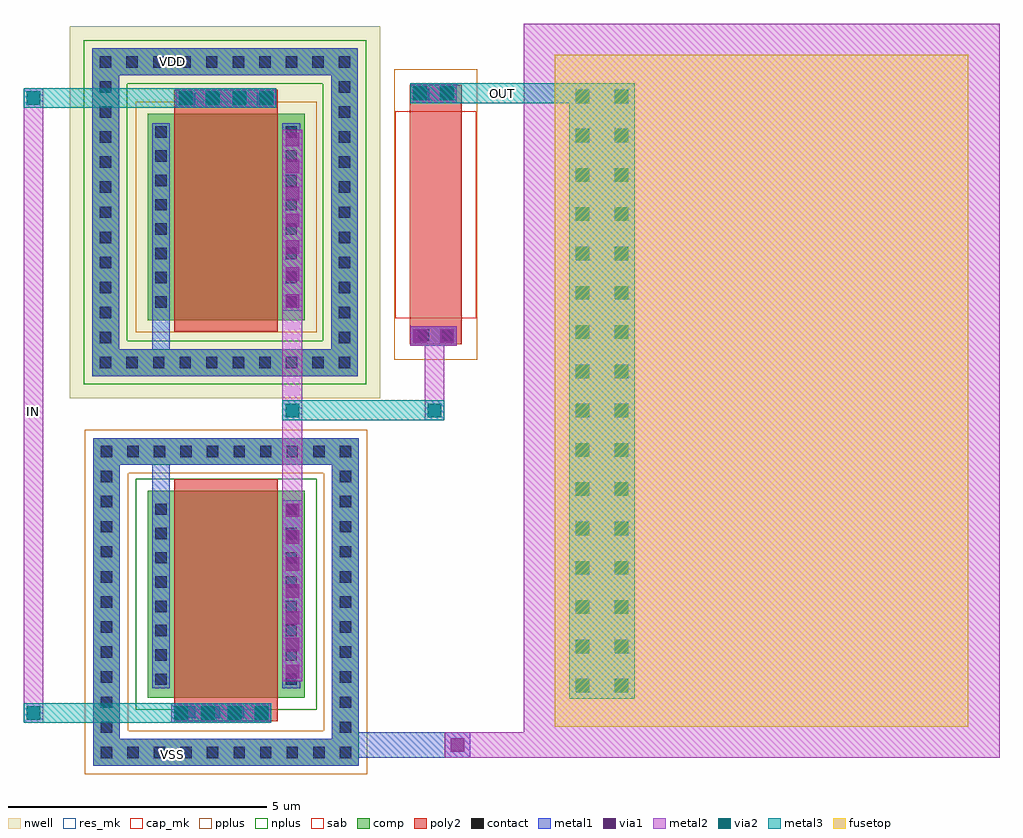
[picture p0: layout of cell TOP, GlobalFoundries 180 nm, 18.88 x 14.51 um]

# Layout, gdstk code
from math import pi, radians
import gdstk
lib = gdstk.Library(unit=1e-6, precision=1e-09)
def R(c, l, rs):  # rectangles x0, y0, x1, y1
    for r in rs: c.add(gdstk.rectangle(r[:2], r[2:], *l))
def A(c, l, x, y, w, h, nx, ny, dx, dy):  # array of equal rectangles
    R(c, l, [(x+i*dx, y+j*dy, x+i*dx+w, y+j*dy+h) for i in range(nx) for j in range(ny)])
def P(c, l, *ps):  # polygons
    for p in ps: c.add(gdstk.Polygon(p, *l))
nwell = (21, 0)
comp = (22, 0)
poly2 = (30, 0)
pplus = (31, 0)
nplus = (32, 0)
contact = (33, 0)
metal1 = (34, 0)
via1 = (35, 0)
metal2 = (36, 0)
via2 = (38, 0)
metal3 = (42, 0)
sab = (49, 0)
fusetop = (75, 0)
res_mk = (110, 5)
cap_mk = (117, 5)

pmos = lib.new_cell('PMOS')
R(pmos, nwell, [(-0.43,-0.43,3.47,4.43)])
R(pmos, comp, [(0,0,3.04,4)])
R(pmos, poly2, [(0.52,-0.22,2.52,4.22), (0.52,4.1,2.52,4.46)])
R(pmos, pplus, [(-0.23,-0.23,3.27,4.23)])
A(pmos, contact, 0.15, 0.245, 0.22, 0.22, 1, 8, 0, 0.47)
A(pmos, contact, 2.67, 0.245, 0.22, 0.22, 1, 8, 0, 0.47)
A(pmos, contact, 0.705, 4.17, 0.22, 0.22, 4, 1, 0.47, 0)
R(pmos, metal1, [(0.09,0.185,0.43,3.815), (2.61,0.185,2.95,3.815), (0.645,4.11,2.395,4.45)])
pmos.add(gdstk.Label('G', (1.52,4.11), layer=30, texttype=10))
pmos.add(gdstk.Label('S', (0.26,2), layer=34, texttype=10))
pmos.add(gdstk.Label('D', (2.78,2), layer=34, texttype=10))

nmos = lib.new_cell('NMOS')
R(nmos, comp, [(0,0,3.04,4)])
R(nmos, poly2, [(0.52,-0.46,2.52,-0.1), (0.52,-0.22,2.52,4.22)])
R(nmos, nplus, [(-0.23,-0.23,3.27,4.23)])
A(nmos, contact, 0.705, -0.39, 0.22, 0.22, 4, 1, 0.47, 0)
A(nmos, contact, 0.15, 0.245, 0.22, 0.22, 1, 8, 0, 0.47)
A(nmos, contact, 2.67, 0.245, 0.22, 0.22, 1, 8, 0, 0.47)
R(nmos, metal1, [(0.645,-0.45,2.395,-0.11), (0.09,0.185,0.43,3.815), (2.61,0.185,2.95,3.815)])
nmos.add(gdstk.Label('G', (1.52,-0.11), layer=30, texttype=10))
nmos.add(gdstk.Label('S', (0.26,2), layer=34, texttype=10))
nmos.add(gdstk.Label('D', (2.78,2), layer=34, texttype=10))

guardring = lib.new_cell('GuardRing')
P(guardring, comp, [(-2.57,-3.17),(-2.57,2.65),(-2.05,2.65),(-2.05,-2.65),(2.05,-2.65),(2.05,2.65),(-2.57,2.65),(-2.57,3.17),(2.57,3.17),(2.57,-3.17)])
P(guardring, pplus, [(-2.73,-3.33),(-2.73,2.49),(-1.89,2.49),(-1.89,-2.49),(1.89,-2.49),(1.89,2.49),(-2.73,2.49),(-2.73,3.33),(2.73,3.33),(2.73,-3.33)])
A(guardring, contact, -2.42, -3.02, 0.22, 0.22, 1, 13, 0, 0.485)
A(guardring, contact, -1.393, -3.02, 0.22, 0.22, 3, 2, 0.513, 5.82)
A(guardring, contact, 0.147, -3.02, 0.22, 0.22, 3, 2, 0.513, 5.82)
A(guardring, contact, 2.2, -3.02, 0.22, 0.22, 1, 13, 0, 0.485)
R(guardring, contact, [(-1.907,-3.02,-1.687,-2.8), (1.687,-3.02,1.907,-2.8), (-1.907,2.8,-1.687,3.02), (1.687,2.8,1.907,3.02)])
P(guardring, metal1, [(-2.57,-3.17),(-2.57,2.65),(-2.05,2.65),(-2.05,-2.65),(2.05,-2.65),(2.05,2.65),(-2.57,2.65),(-2.57,3.17),(2.57,3.17),(2.57,-3.17)])

guardring_1 = lib.new_cell('GuardRing$1')
R(guardring_1, nwell, [(-3,-3.6,3,3.6)])
P(guardring_1, comp, [(-2.57,-3.17),(-2.57,2.65),(-2.05,2.65),(-2.05,-2.65),(2.05,-2.65),(2.05,2.65),(-2.57,2.65),(-2.57,3.17),(2.57,3.17),(2.57,-3.17)])
P(guardring_1, nplus, [(-2.73,-3.33),(-2.73,2.49),(-1.89,2.49),(-1.89,-2.49),(1.89,-2.49),(1.89,2.49),(-2.73,2.49),(-2.73,3.33),(2.73,3.33),(2.73,-3.33)])
A(guardring_1, contact, -2.42, -3.02, 0.22, 0.22, 1, 13, 0, 0.485)
A(guardring_1, contact, -1.393, -3.02, 0.22, 0.22, 3, 2, 0.513, 5.82)
A(guardring_1, contact, 0.147, -3.02, 0.22, 0.22, 3, 2, 0.513, 5.82)
A(guardring_1, contact, 2.2, -3.02, 0.22, 0.22, 1, 13, 0, 0.485)
R(guardring_1, contact, [(-1.907,-3.02,-1.687,-2.8), (1.687,-3.02,1.907,-2.8), (-1.907,2.8,-1.687,3.02), (1.687,2.8,1.907,3.02)])
P(guardring_1, metal1, [(-2.57,-3.17),(-2.57,2.65),(-2.05,2.65),(-2.05,-2.65),(2.05,-2.65),(2.05,2.65),(-2.57,2.65),(-2.57,3.17),(2.57,3.17),(2.57,-3.17)])

c_______p_po_sab = lib.new_cell('$$$$$$P_PO_SAB')
R(c_______p_po_sab, poly2, [(0,0,5.02,1)])
R(c_______p_po_sab, pplus, [(-0.3,-0.3,5.32,1.3)])
R(c_______p_po_sab, contact, [(0.07,0.155,0.29,0.375), (4.73,0.155,4.95,0.375), (0.07,0.625,0.29,0.845), (4.73,0.625,4.95,0.845)])
R(c_______p_po_sab, metal1, [(0.01,0.095,0.35,0.905), (4.67,0.095,5.01,0.905)])
R(c_______p_po_sab, sab, [(0.51,-0.28,4.51,1.28)])
R(c_______p_po_sab, res_mk, [(0.51,0,4.51,1)])

c_______mim = lib.new_cell('$$$$$$MIM')
R(c_______mim, metal2, [(-0.6,-0.6,8.6,13.6)])
A(c_______mim, via2, 0.4, 0.67, 0.26, 0.26, 1, 16, 0, 0.76)
A(c_______mim, via2, 1.16, 0.67, 0.26, 0.26, 1, 16, 0, 0.76)
R(c_______mim, metal3, [(0.28,0.55,1.54,12.45)])
R(c_______mim, fusetop, [(0,0,8,13)])
R(c_______mim, cap_mk, [(0,0,8,13)])

c_____________ = lib.new_cell('$$$$$$$$$$$$')
R(c_____________, metal1, [(-0.97,-0.19,0.97,0.19)])
A(c_____________, via1, -0.91, -0.13, 0.26, 0.26, 4, 1, 0.52, 0)
R(c_____________, metal2, [(-0.97,-0.19,0.97,0.19)])

c______________1 = lib.new_cell('$$$$$$$$$$$$$1')
R(c______________1, metal2, [(-0.97,-0.19,0.97,0.19)])
A(c______________1, via2, -0.91, -0.13, 0.26, 0.26, 4, 1, 0.52, 0)
R(c______________1, metal3, [(-0.97,-0.19,0.97,0.19)])

c______________2 = lib.new_cell('$$$$$$$$$$$$$2')
R(c______________2, metal2, [(-0.19,-0.19,0.19,0.19)])
R(c______________2, via2, [(-0.13,-0.13,0.13,0.13)])
R(c______________2, metal3, [(-0.19,-0.19,0.19,0.19)])

c______________4 = lib.new_cell('$$$$$$$$$$$$$4')
R(c______________4, metal1, [(-0.19,-1.75,0.19,1.75)])
A(c______________4, via1, -0.13, -1.69, 0.26, 0.26, 1, 7, 0, 0.52)
R(c______________4, metal2, [(-0.19,-1.75,0.19,1.75)])

c______________6 = lib.new_cell('$$$$$$$$$$$$$6')
R(c______________6, metal1, [(-0.45,-0.19,0.45,0.19)])
R(c______________6, via1, [(-0.39,-0.13,-0.13,0.13), (0.13,-0.13,0.39,0.13)])
R(c______________6, metal2, [(-0.45,-0.19,0.45,0.19)])

c______________7 = lib.new_cell('$$$$$$$$$$$$$7')
R(c______________7, metal2, [(-0.45,-0.19,0.45,0.19)])
R(c______________7, via2, [(-0.39,-0.13,-0.13,0.13), (0.13,-0.13,0.39,0.13)])
R(c______________7, metal3, [(-0.45,-0.19,0.45,0.19)])

c______________8 = lib.new_cell('$$$$$$$$$$$$$8')
R(c______________8, metal1, [(-0.25,-0.25,0.25,0.25)])
R(c______________8, via1, [(-0.13,-0.13,0.13,0.13)])
R(c______________8, metal2, [(-0.25,-0.25,0.25,0.25)])

top = lib.new_cell('TOP')
top.add(gdstk.FlexPath([(-2.432,-6.174),(-2.432,6.105)], 0.38, ends="flush", simple_path=True, layer=36, datatype=0))  # metal2
top.add(gdstk.FlexPath([(2.578,-2.213),(2.578,2.331)], 0.38, ends="flush", simple_path=True, layer=36, datatype=0))  # metal2
top.add(gdstk.FlexPath([(5.33,-0.316),(5.33,1.46)], 0.38, ends="flush", simple_path=True, layer=36, datatype=0))  # metal2
top.add(gdstk.FlexPath([(9.775,-6.602),(5.522,-6.602)], 0.5, ends="flush", simple_path=True, layer=36, datatype=0))  # metal2
top.add(gdstk.FlexPath([(-2.622,5.915),(0.731,5.915)], 0.38, ends="flush", simple_path=True, layer=42, datatype=0))  # metal3
top.add(gdstk.FlexPath([(0.233,-5.984),(-2.622,-5.984)], 0.38, ends="flush", simple_path=True, layer=42, datatype=0))  # metal3
top.add(gdstk.FlexPath([(2.388,-0.126),(5.52,-0.126)], 0.38, ends="flush", simple_path=True, layer=42, datatype=0))  # metal3
top.add(gdstk.FlexPath([(5.411,6.008),(8.342,6.008)], 0.38, ends="flush", simple_path=True, layer=42, datatype=0))  # metal3
top.add(gdstk.FlexPath([(0.038,2.023),(0.038,0.861)], 0.34, ends="flush", simple_path=True, layer=34, datatype=0))  # metal1
top.add(gdstk.FlexPath([(0.038,-0.952),(0.038,-2.114)], 0.34, ends="flush", simple_path=True, layer=34, datatype=0))  # metal1
top.add(gdstk.FlexPath([(6.022,-6.602),(3.437,-6.602)], 0.5, ends="flush", simple_path=True, layer=34, datatype=0))  # metal1
top.add(gdstk.Reference(pmos, (-0.222,1.615)))
top.add(gdstk.Reference(nmos, (-0.222,-5.684)))
top.add(gdstk.Reference(guardring, (1.294,-3.833)))
top.add(gdstk.Reference(guardring_1, (1.277,3.705)))
top.add(gdstk.Reference(c_______p_po_sab, (4.854,6.168), rotation=3*pi/2))
top.add(gdstk.Reference(c_______mim, (7.658,-6.252)))
top.add(gdstk.Reference(c_____________, (1.297,5.915)))
top.add(gdstk.Reference(c______________1, (1.297,5.915)))
top.add(gdstk.Reference(c_____________, (1.203,-5.984)))
top.add(gdstk.Reference(c______________1, (1.203,-5.984)))
top.add(gdstk.Reference(c______________2, (-2.432,-5.984)))
top.add(gdstk.Reference(c______________2, (-2.432,5.915)))
top.add(gdstk.Reference(c______________4, (2.578,3.55)))
top.add(gdstk.Reference(c______________4, (2.578,-3.619)))
top.add(gdstk.Reference(c______________6, (5.312,1.309)))
top.add(gdstk.Reference(c______________2, (2.578,-0.126)))
top.add(gdstk.Reference(c______________2, (5.33,-0.126)))
top.add(gdstk.Reference(c______________6, (5.312,6.008)))
top.add(gdstk.Reference(c______________7, (5.312,6.008)))
top.add(gdstk.Reference(c______________8, (5.772,-6.602)))
top.add(gdstk.Label('IN', (-2.432,-0.157), layer=36, texttype=0))
top.add(gdstk.Label('OUT', (6.645,6.008), layer=42, texttype=0))
top.add(gdstk.Label('VSS', (0.253,-6.781), layer=34, texttype=10))
top.add(gdstk.Label('VDD', (0.261,6.618), layer=34, texttype=10))

lib.write_gds('TOP.gds')
